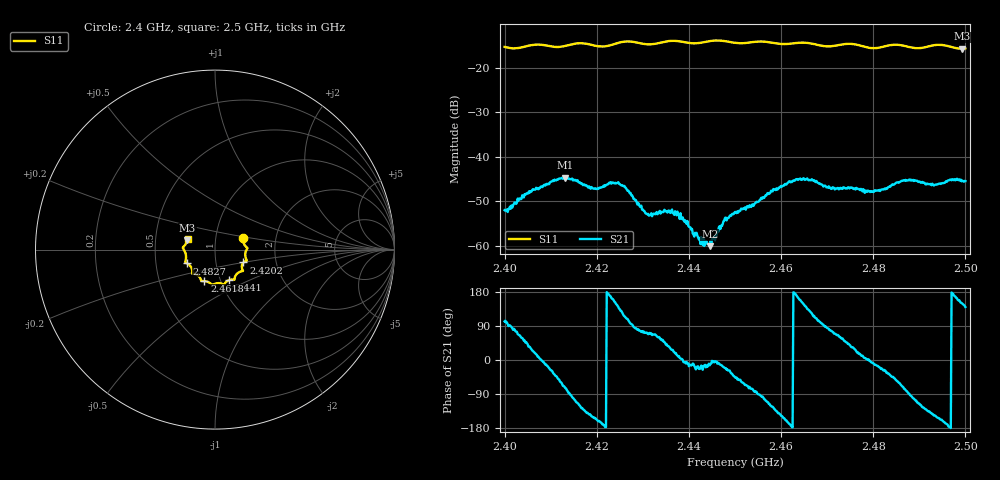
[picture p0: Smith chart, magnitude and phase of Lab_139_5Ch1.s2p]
# Hz S RI R 50
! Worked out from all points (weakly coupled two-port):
!   601 points, 2.4 GHz to 2.5 GHz, reference 50 ohm
!   highest |S21| = -44.64 dB at 2.4132 GHz (marker M1); lowest = -60.0 dB at 2.4445 GHz (marker M2)
!   lowest |S11| = -15.8 dB at 2.4993 GHz (marker M3), VSWR 1.39, Z = 36.5 + j3.83 ohm
!   |S11| at or under -10 dB: start of sweep to end of sweep
!   S12 and S22 are empty: the file has one direction only
!   S11 on the Smith chart (normalised r, x): 2.4 GHz: 1.36, +0.18; 2.4202 GHz: 1.36, -0.20; 2.441 GHz: 1.10, -0.39; 2.4618 GHz: 0.84, -0.30; 2.4827 GHz: 0.72, -0.12; 2.5 GHz: 0.73, +0.09
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2.4e9  0.1586 0.0627  -0.000516 0.00247  0 0  0 0
2.405833e9  0.1781 0.0113  0.00361 0.00193  0 0  0 0
2.413167e9  0.1698 -0.0412  0.00159 -0.00564  0 0  0 0
2.416667e9  0.1772 -0.061  -0.00304 -0.00406  0 0  0 0
2.420167e9  0.1585 -0.0714  -0.00414 -0.00153  0 0  0 0
2.425e9  0.1541 -0.1132  -0.00343 0.00358  0 0  0 0
2.431e9  0.1271 -0.1304  0.000782 0.00212  0 0  0 0
2.433333e9  0.1115 -0.1508  0.00117 0.00201  0 0  0 0
2.437667e9  0.1056 -0.1675  0.00225 0.000363  0 0  0 0
2.441e9  0.0786 -0.1698  0.00132 -0.000248  0 0  0 0
2.4445e9  0.0535 -0.1907  0.000967 -0.000242  0 0  0 0
2.447833e9  0.0443 -0.1928  0.00192 -0.000764  0 0  0 0
2.45e9  0.0287 -0.1874  0.00168 -0.00173  0 0  0 0
2.461833e9  -0.0592 -0.1753  -0.00523 -0.00102  0 0  0 0
2.466667e9  -0.0786 -0.1684  -0.00305 0.00471  0 0  0 0
2.471333e9  -0.1076 -0.1375  0.00135 0.00433  0 0  0 0
2.482667e9  -0.1559 -0.0772  0.00381 -0.00205  0 0  0 0
2.483333e9  -0.1602 -0.0752  0.00371 -0.00267  0 0  0 0
2.4865e9  -0.1646 -0.0637  0.00175 -0.00515  0 0  0 0
2.493167e9  -0.1782 0.0056  -0.00397 -0.00263  0 0  0 0
2.499333e9  -0.1541 0.0511  -0.00464 0.0028  0 0  0 0
2.5e9  -0.1524 0.0607  -0.00409 0.00346  0 0  0 0
